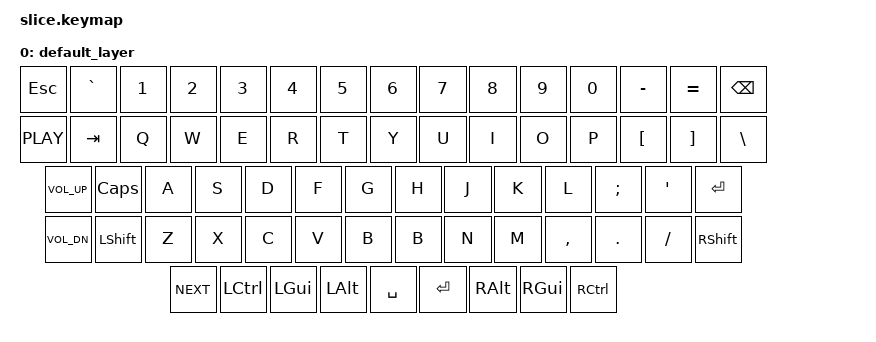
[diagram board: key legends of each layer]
/*
 * Copyright (c) 2020 The ZMK Contributors
 *
 * SPDX-License-Identifier: MIT
 */

#include <behaviors.dtsi>
#include <dt-bindings/zmk/bt.h>
#include <dt-bindings/zmk/keys.h>

/ {
	keymap {
		compatible = "zmk,keymap";

		default_layer {
			bindings = <
&kp ESC       &kp GRAVE  &kp N1  &kp N2  &kp N3  &kp N4  &kp N5 &kp N6      &kp N7  &kp N8  &kp N9  &kp N0  &kp MINUS  &kp EQUAL  &kp BSPC
&kp C_PLAY    &kp TAB    &kp Q  &kp W  &kp E    &kp R    &kp T              &kp Y  &kp U    &kp I     &kp O   &kp P  &kp LBKT  &kp RBKT  &kp BSLH
&kp C_VOL_UP  &kp CAPS   &kp A  &kp S  &kp D    &kp F    &kp G              &kp H  &kp J    &kp K     &kp L   &kp SEMI  &kp SQT &kp ENTER
&kp C_VOL_DN  &kp LSHFT  &kp Z  &kp X  &kp C    &kp V    &kp B              &kp B  &kp N  &kp M    &kp COMMA &kp DOT &kp FSLH &kp RSHFT
&kp C_NEXT    &kp LCTRL  &kp LGUI  &kp LALT &kp SPACE                       &kp RET  &kp RALT  &kp RGUI  &kp RCTRL
			>;
		};

/*		lower_layer {
			bindings = <
&kp trans       &kp trans  &kp F1  &kp F2  &kp F3  &kp F4  &kp F5 &kp F6                &kp F7  &kp F8  &kp F9  &kp F10  &kp F11  &kp F12  &kp DEL
&kp trans    &kp trans    &kp trans  &kp trans  &kp trans  &kp trans    &kp trans       &kp trans  &kp trans    &kp trans  &kp trans  &kp trans  &kp trans  &kp trans  &kp trans
&kp trans  &kp trans   &kp LEFT  &kp UP  &kp DOWN    &kp RIGHT    &kp trans             &kp trans  &kp trans  &kp trans  &kp trans  &kp trans  &kp trans &kp trans
&kp trans  &kp trans  &kp HOME  &kp PG_UP  &kp PG_DN &kp END    &kp trans               &mo 1  &kp trans  &kp trans    &kp trans &kp trans &kp trans &kp trans
&kp trans    &kp trans  &kp trans  &kp trans &kp trans                                  &kp trans  &kp trans  &kp trans  &kp trans
			>;
		};*/
	};
};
